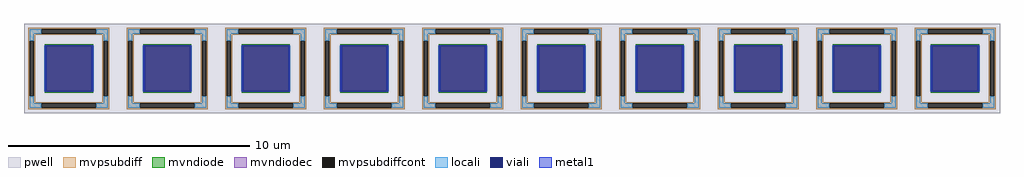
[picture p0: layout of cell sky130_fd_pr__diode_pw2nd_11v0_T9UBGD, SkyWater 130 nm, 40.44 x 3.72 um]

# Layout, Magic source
magic
tech sky130A
<< pwell >>
rect -2022 -186 2022 186
<< mvpsubdiff >>
rect -2004 162 -1668 168
rect -2004 145 -1950 162
rect -1722 145 -1668 162
rect -2004 139 -1668 145
rect -2004 114 -1975 139
rect -2004 -114 -1998 114
rect -1981 -114 -1975 114
rect -1697 114 -1668 139
rect -2004 -139 -1975 -114
rect -1697 -114 -1691 114
rect -1674 -114 -1668 114
rect -1697 -139 -1668 -114
rect -2004 -145 -1668 -139
rect -2004 -162 -1950 -145
rect -1722 -162 -1668 -145
rect -2004 -168 -1668 -162
rect -1596 162 -1260 168
rect -1596 145 -1542 162
rect -1314 145 -1260 162
rect -1596 139 -1260 145
rect -1596 114 -1567 139
rect -1596 -114 -1590 114
rect -1573 -114 -1567 114
rect -1289 114 -1260 139
rect -1596 -139 -1567 -114
rect -1289 -114 -1283 114
rect -1266 -114 -1260 114
rect -1289 -139 -1260 -114
rect -1596 -145 -1260 -139
rect -1596 -162 -1542 -145
rect -1314 -162 -1260 -145
rect -1596 -168 -1260 -162
rect -1188 162 -852 168
rect -1188 145 -1134 162
rect -906 145 -852 162
rect -1188 139 -852 145
rect -1188 114 -1159 139
rect -1188 -114 -1182 114
rect -1165 -114 -1159 114
rect -881 114 -852 139
rect -1188 -139 -1159 -114
rect -881 -114 -875 114
rect -858 -114 -852 114
rect -881 -139 -852 -114
rect -1188 -145 -852 -139
rect -1188 -162 -1134 -145
rect -906 -162 -852 -145
rect -1188 -168 -852 -162
rect -780 162 -444 168
rect -780 145 -726 162
rect -498 145 -444 162
rect -780 139 -444 145
rect -780 114 -751 139
rect -780 -114 -774 114
rect -757 -114 -751 114
rect -473 114 -444 139
rect -780 -139 -751 -114
rect -473 -114 -467 114
rect -450 -114 -444 114
rect -473 -139 -444 -114
rect -780 -145 -444 -139
rect -780 -162 -726 -145
rect -498 -162 -444 -145
rect -780 -168 -444 -162
rect -372 162 -36 168
rect -372 145 -318 162
rect -90 145 -36 162
rect -372 139 -36 145
rect -372 114 -343 139
rect -372 -114 -366 114
rect -349 -114 -343 114
rect -65 114 -36 139
rect -372 -139 -343 -114
rect -65 -114 -59 114
rect -42 -114 -36 114
rect -65 -139 -36 -114
rect -372 -145 -36 -139
rect -372 -162 -318 -145
rect -90 -162 -36 -145
rect -372 -168 -36 -162
rect 36 162 372 168
rect 36 145 90 162
rect 318 145 372 162
rect 36 139 372 145
rect 36 114 65 139
rect 36 -114 42 114
rect 59 -114 65 114
rect 343 114 372 139
rect 36 -139 65 -114
rect 343 -114 349 114
rect 366 -114 372 114
rect 343 -139 372 -114
rect 36 -145 372 -139
rect 36 -162 90 -145
rect 318 -162 372 -145
rect 36 -168 372 -162
rect 444 162 780 168
rect 444 145 498 162
rect 726 145 780 162
rect 444 139 780 145
rect 444 114 473 139
rect 444 -114 450 114
rect 467 -114 473 114
rect 751 114 780 139
rect 444 -139 473 -114
rect 751 -114 757 114
rect 774 -114 780 114
rect 751 -139 780 -114
rect 444 -145 780 -139
rect 444 -162 498 -145
rect 726 -162 780 -145
rect 444 -168 780 -162
rect 852 162 1188 168
rect 852 145 906 162
rect 1134 145 1188 162
rect 852 139 1188 145
rect 852 114 881 139
rect 852 -114 858 114
rect 875 -114 881 114
rect 1159 114 1188 139
rect 852 -139 881 -114
rect 1159 -114 1165 114
rect 1182 -114 1188 114
rect 1159 -139 1188 -114
rect 852 -145 1188 -139
rect 852 -162 906 -145
rect 1134 -162 1188 -145
rect 852 -168 1188 -162
rect 1260 162 1596 168
rect 1260 145 1314 162
rect 1542 145 1596 162
rect 1260 139 1596 145
rect 1260 114 1289 139
rect 1260 -114 1266 114
rect 1283 -114 1289 114
rect 1567 114 1596 139
rect 1260 -139 1289 -114
rect 1567 -114 1573 114
rect 1590 -114 1596 114
rect 1567 -139 1596 -114
rect 1260 -145 1596 -139
rect 1260 -162 1314 -145
rect 1542 -162 1596 -145
rect 1260 -168 1596 -162
rect 1668 162 2004 168
rect 1668 145 1722 162
rect 1950 145 2004 162
rect 1668 139 2004 145
rect 1668 114 1697 139
rect 1668 -114 1674 114
rect 1691 -114 1697 114
rect 1975 114 2004 139
rect 1668 -139 1697 -114
rect 1975 -114 1981 114
rect 1998 -114 2004 114
rect 1975 -139 2004 -114
rect 1668 -145 2004 -139
rect 1668 -162 1722 -145
rect 1950 -162 2004 -145
rect 1668 -168 2004 -162
<< mvpsubdiffcont >>
rect -1950 145 -1722 162
rect -1998 -114 -1981 114
rect -1691 -114 -1674 114
rect -1950 -162 -1722 -145
rect -1542 145 -1314 162
rect -1590 -114 -1573 114
rect -1283 -114 -1266 114
rect -1542 -162 -1314 -145
rect -1134 145 -906 162
rect -1182 -114 -1165 114
rect -875 -114 -858 114
rect -1134 -162 -906 -145
rect -726 145 -498 162
rect -774 -114 -757 114
rect -467 -114 -450 114
rect -726 -162 -498 -145
rect -318 145 -90 162
rect -366 -114 -349 114
rect -59 -114 -42 114
rect -318 -162 -90 -145
rect 90 145 318 162
rect 42 -114 59 114
rect 349 -114 366 114
rect 90 -162 318 -145
rect 498 145 726 162
rect 450 -114 467 114
rect 757 -114 774 114
rect 498 -162 726 -145
rect 906 145 1134 162
rect 858 -114 875 114
rect 1165 -114 1182 114
rect 906 -162 1134 -145
rect 1314 145 1542 162
rect 1266 -114 1283 114
rect 1573 -114 1590 114
rect 1314 -162 1542 -145
rect 1722 145 1950 162
rect 1674 -114 1691 114
rect 1981 -114 1998 114
rect 1722 -162 1950 -145
<< mvndiode >>
rect -1936 94 -1736 100
rect -1936 -94 -1930 94
rect -1742 -94 -1736 94
rect -1936 -100 -1736 -94
rect -1528 94 -1328 100
rect -1528 -94 -1522 94
rect -1334 -94 -1328 94
rect -1528 -100 -1328 -94
rect -1120 94 -920 100
rect -1120 -94 -1114 94
rect -926 -94 -920 94
rect -1120 -100 -920 -94
rect -712 94 -512 100
rect -712 -94 -706 94
rect -518 -94 -512 94
rect -712 -100 -512 -94
rect -304 94 -104 100
rect -304 -94 -298 94
rect -110 -94 -104 94
rect -304 -100 -104 -94
rect 104 94 304 100
rect 104 -94 110 94
rect 298 -94 304 94
rect 104 -100 304 -94
rect 512 94 712 100
rect 512 -94 518 94
rect 706 -94 712 94
rect 512 -100 712 -94
rect 920 94 1120 100
rect 920 -94 926 94
rect 1114 -94 1120 94
rect 920 -100 1120 -94
rect 1328 94 1528 100
rect 1328 -94 1334 94
rect 1522 -94 1528 94
rect 1328 -100 1528 -94
rect 1736 94 1936 100
rect 1736 -94 1742 94
rect 1930 -94 1936 94
rect 1736 -100 1936 -94
<< mvndiodec >>
rect -1930 -94 -1742 94
rect -1522 -94 -1334 94
rect -1114 -94 -926 94
rect -706 -94 -518 94
rect -298 -94 -110 94
rect 110 -94 298 94
rect 518 -94 706 94
rect 926 -94 1114 94
rect 1334 -94 1522 94
rect 1742 -94 1930 94
<< locali >>
rect -1998 145 -1950 162
rect -1722 145 -1674 162
rect -1998 114 -1981 145
rect -1691 114 -1674 145
rect -1938 -94 -1930 94
rect -1742 -94 -1734 94
rect -1998 -145 -1981 -114
rect -1691 -145 -1674 -114
rect -1998 -162 -1950 -145
rect -1722 -162 -1674 -145
rect -1590 145 -1542 162
rect -1314 145 -1266 162
rect -1590 114 -1573 145
rect -1283 114 -1266 145
rect -1530 -94 -1522 94
rect -1334 -94 -1326 94
rect -1590 -145 -1573 -114
rect -1283 -145 -1266 -114
rect -1590 -162 -1542 -145
rect -1314 -162 -1266 -145
rect -1182 145 -1134 162
rect -906 145 -858 162
rect -1182 114 -1165 145
rect -875 114 -858 145
rect -1122 -94 -1114 94
rect -926 -94 -918 94
rect -1182 -145 -1165 -114
rect -875 -145 -858 -114
rect -1182 -162 -1134 -145
rect -906 -162 -858 -145
rect -774 145 -726 162
rect -498 145 -450 162
rect -774 114 -757 145
rect -467 114 -450 145
rect -714 -94 -706 94
rect -518 -94 -510 94
rect -774 -145 -757 -114
rect -467 -145 -450 -114
rect -774 -162 -726 -145
rect -498 -162 -450 -145
rect -366 145 -318 162
rect -90 145 -42 162
rect -366 114 -349 145
rect -59 114 -42 145
rect -306 -94 -298 94
rect -110 -94 -102 94
rect -366 -145 -349 -114
rect -59 -145 -42 -114
rect -366 -162 -318 -145
rect -90 -162 -42 -145
rect 42 145 90 162
rect 318 145 366 162
rect 42 114 59 145
rect 349 114 366 145
rect 102 -94 110 94
rect 298 -94 306 94
rect 42 -145 59 -114
rect 349 -145 366 -114
rect 42 -162 90 -145
rect 318 -162 366 -145
rect 450 145 498 162
rect 726 145 774 162
rect 450 114 467 145
rect 757 114 774 145
rect 510 -94 518 94
rect 706 -94 714 94
rect 450 -145 467 -114
rect 757 -145 774 -114
rect 450 -162 498 -145
rect 726 -162 774 -145
rect 858 145 906 162
rect 1134 145 1182 162
rect 858 114 875 145
rect 1165 114 1182 145
rect 918 -94 926 94
rect 1114 -94 1122 94
rect 858 -145 875 -114
rect 1165 -145 1182 -114
rect 858 -162 906 -145
rect 1134 -162 1182 -145
rect 1266 145 1314 162
rect 1542 145 1590 162
rect 1266 114 1283 145
rect 1573 114 1590 145
rect 1326 -94 1334 94
rect 1522 -94 1530 94
rect 1266 -145 1283 -114
rect 1573 -145 1590 -114
rect 1266 -162 1314 -145
rect 1542 -162 1590 -145
rect 1674 145 1722 162
rect 1950 145 1998 162
rect 1674 114 1691 145
rect 1981 114 1998 145
rect 1734 -94 1742 94
rect 1930 -94 1938 94
rect 1674 -145 1691 -114
rect 1981 -145 1998 -114
rect 1674 -162 1722 -145
rect 1950 -162 1998 -145
<< viali >>
rect -1930 -94 -1742 94
rect -1522 -94 -1334 94
rect -1114 -94 -926 94
rect -706 -94 -518 94
rect -298 -94 -110 94
rect 110 -94 298 94
rect 518 -94 706 94
rect 926 -94 1114 94
rect 1334 -94 1522 94
rect 1742 -94 1930 94
<< metal1 >>
rect -1936 94 -1736 97
rect -1936 -94 -1930 94
rect -1742 -94 -1736 94
rect -1936 -97 -1736 -94
rect -1528 94 -1328 97
rect -1528 -94 -1522 94
rect -1334 -94 -1328 94
rect -1528 -97 -1328 -94
rect -1120 94 -920 97
rect -1120 -94 -1114 94
rect -926 -94 -920 94
rect -1120 -97 -920 -94
rect -712 94 -512 97
rect -712 -94 -706 94
rect -518 -94 -512 94
rect -712 -97 -512 -94
rect -304 94 -104 97
rect -304 -94 -298 94
rect -110 -94 -104 94
rect -304 -97 -104 -94
rect 104 94 304 97
rect 104 -94 110 94
rect 298 -94 304 94
rect 104 -97 304 -94
rect 512 94 712 97
rect 512 -94 518 94
rect 706 -94 712 94
rect 512 -97 712 -94
rect 920 94 1120 97
rect 920 -94 926 94
rect 1114 -94 1120 94
rect 920 -97 1120 -94
rect 1328 94 1528 97
rect 1328 -94 1334 94
rect 1522 -94 1528 94
rect 1328 -97 1528 -94
rect 1736 94 1936 97
rect 1736 -94 1742 94
rect 1930 -94 1936 94
rect 1736 -97 1936 -94
<< properties >>
string FIXED_BBOX 1682 -153 1989 153
string gencell sky130_fd_pr__diode_pw2nd_11v0
string library sky130
string parameters w 2 l 2 area 4.0 peri 8.0 nx 10 ny 1 dummy 0 lmin 0.45 wmin 0.45 elc 1 erc 1 etc 1 ebc 1 doverlap 0 compatible {sky130_fd_pr__diode_pw2nd_05v5 sky130_fd_pr__diode_pw2nd_05v5_lvt  sky130_fd_pr__diode_pw2nd_05v5_nvt sky130_fd_pr__diode_pw2nd_11v0} full_metal 1 vias 1 viagb 0 viagt 0 viagl 0 viagr 0
<< end >>
